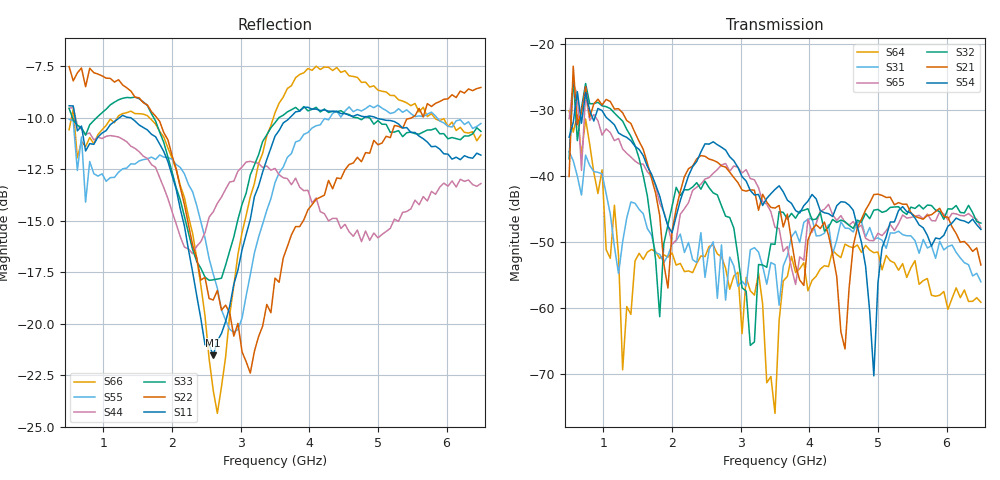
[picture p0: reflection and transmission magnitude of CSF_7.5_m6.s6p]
!Keysight Technologies,M9804A,MY58100912,A.14.10.03
!Date: Thursday, April 27, 2023 10:28:33
!Correction: S11(C  6-Port  )
!S12(C  6-Port  )
!S13(C  6-Port  )
!S14(C  6-Port  )
!S15(C  6-Port  )
!S16(C  6-Port  )
!S21(C  6-Port  )
!S22(C  6-Port  )
!S23(C  6-Port  )
!S24(C  6-Port  )
!S25(C  6-Port  )
!S26(C  6-Port  )
!S31(C  6-Port  )
!S32(C  6-Port  )
!S33(C  6-Port  )
!S34(C  6-Port  )
!S35(C  6-Port  )
!S36(C  6-Port  )
!S41(C  6-Port  )
!S42(C  6-Port  )
!S43(C  6-Port  )
!S44(C  6-Port  )
!S45(C  6-Port  )
!S46(C  6-Port  )
!S51(C  6-Port  )
!S52(C  6-Port  )
!S53(C  6-Port  )
!S54(C  6-Port  )
!S55(C  6-Port  )
!S56(C  6-Port  )
!S61(C  6-Port  )
!S62(C  6-Port  )
!S63(C  6-Port  )
!S64(C  6-Port  )
!S65(C  6-Port  )
!S66(C  6-Port  )
!S6P File: Measurement: :
# Hz S  RI  R 50
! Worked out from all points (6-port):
!   101 points, 500 MHz to 6.5 GHz, reference 50 ohm
!   strongest paths, dB at 500 MHz, 2 GHz, 3.5 GHz, 5 GHz, 6.5 GHz:
!     S54: -34.1, -48.5, -42.0, -56.2, -48.1
!     S21: -40.0, -48.3, -44.8, -42.7, -53.4
!     S32: -37.3, -44.6, -50.3, -45.0, -47.1
!     S65: -31.3, -50.3, -47.7, -48.6, -47.8
!     S31: -36.2, -50.3, -53.4, -49.3, -56.0
!     S64: -30.0, -51.6, -75.9, -51.5, -59.1
!   lowest |S11| = -21.5 dB at 2.6 GHz (marker M1), VSWR 1.18, Z = 42.5 + j2.08 ohm
!   |S11| at or under -10 dB: 588.5 MHz to 1.233 GHz (644.3 MHz wide, 70.7 % of centre); 1.4 GHz to 3.715 GHz (2.315 GHz wide, 90.5 % of centre); 4.971 GHz to end of sweep
